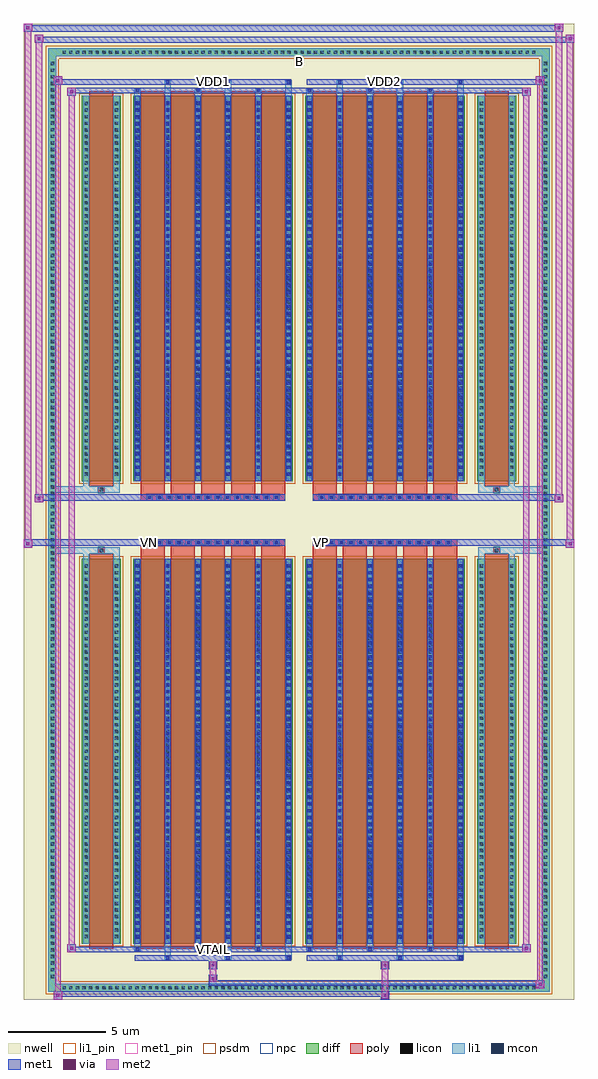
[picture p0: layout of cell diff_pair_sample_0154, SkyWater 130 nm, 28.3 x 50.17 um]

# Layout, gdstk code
import gdstk
lib = gdstk.Library(unit=1e-6, precision=5e-09)
def R(c, l, rs):  # rectangles x0, y0, x1, y1
    for r in rs: c.add(gdstk.rectangle(r[:2], r[2:], *l))
def A(c, l, x, y, w, h, nx, ny, dx, dy):  # array of equal rectangles
    R(c, l, [(x+i*dx, y+j*dy, x+i*dx+w, y+j*dy+h) for i in range(nx) for j in range(ny)])
def P(c, l, *ps):  # polygons
    for p in ps: c.add(gdstk.Polygon(p, *l))
nwell = (64, 20)
diff = (65, 20)
poly = (66, 20)
licon = (66, 44)
li1_pin = (67, 16)
li1 = (67, 20)
mcon = (67, 44)
met1_pin = (68, 16)
met1 = (68, 20)
via = (68, 44)
met2 = (69, 20)
psdm = (94, 20)
npc = (95, 20)

diff_pair_sample_0154 = lib.new_cell('diff_pair_sample_0154')
R(diff_pair_sample_0154, nwell, [(-14.15,-24.65,14.15,25.52), (-11.47,-22.84,-0.01,-0.8), (0.01,-22.84,11.47,-0.8), (-11.47,0.8,-0.01,22.84), (0.01,0.8,11.47,22.84)])
A(diff_pair_sample_0154, diff, -12.275, -24.25, 0.41, 0.41, 72, 2, 0.34, 48.09)
A(diff_pair_sample_0154, diff, -12.88, -23.665, 0.41, 0.41, 1, 139, 0, 0.34)
A(diff_pair_sample_0154, diff, 12.47, -23.665, 0.41, 0.41, 1, 139, 0, 0.34)
R(diff_pair_sample_0154, diff, [(-12.275,-24.25,12.275,-23.84), (-12.88,-23.665,-12.47,23.665), (12.47,-23.665,12.88,23.665), (-11.16,-21.795,-9.16,-1.985), (-8.52,-21.795,-0.32,-1.985), (0.32,-21.795,8.52,-1.985), (9.16,-21.795,11.16,-1.985), (-11.16,1.985,-9.16,21.795), (-8.52,1.985,-0.32,21.795), (0.32,1.985,8.52,21.795), (9.16,1.985,11.16,21.795), (-12.275,23.84,12.275,24.25)])
P(diff_pair_sample_0154, diff, [(12.88,24.25),(-12.88,24.25),(-12.88,-23.84),(-12.47,-23.84),(-12.47,23.84),(12.47,23.84),(12.47,-23.84),(-12.47,-23.84),(-12.88,-23.84),(-12.88,-24.25),(12.88,-24.25)])
A(diff_pair_sample_0154, poly, -8.13, -22.045, 1.22, 20.31, 5, 2, 1.55, 23.78)
A(diff_pair_sample_0154, poly, 0.71, -22.045, 1.22, 20.31, 5, 2, 1.55, 23.78)
A(diff_pair_sample_0154, poly, -8.13, -1.735, 1.22, 0.405, 5, 2, 1.55, 3.065)
A(diff_pair_sample_0154, poly, 0.71, -1.735, 1.22, 0.405, 5, 2, 1.55, 3.065)
A(diff_pair_sample_0154, poly, -7.835, -1.33, 0.33, 0.33, 14, 2, 0.5, 2.33)
A(diff_pair_sample_0154, poly, 1.005, -1.33, 0.33, 0.33, 14, 2, 0.5, 2.33)
R(diff_pair_sample_0154, poly, [(-10.77,-22.045,-9.55,-1.735), (9.55,-22.045,10.77,-1.735), (-10.325,-1.735,-9.995,-1.405), (-10.325,-1.735,-9.995,-1.405), (9.995,-1.735,10.325,-1.405), (9.995,-1.735,10.325,-1.405), (-8.13,-1.33,-0.71,-1), (0.71,-1.33,8.13,-1), (-8.13,1,-0.71,1.33), (0.71,1,8.13,1.33), (-10.325,1.405,-9.995,1.735), (-10.325,1.405,-9.995,1.735), (9.995,1.405,10.325,1.735), (9.995,1.405,10.325,1.735), (-10.77,1.735,-9.55,22.045), (9.55,1.735,10.77,22.045)])
A(diff_pair_sample_0154, licon, -12.155, -24.13, 0.17, 0.17, 72, 2, 0.34, 48.09)
A(diff_pair_sample_0154, licon, -12.76, -23.545, 0.17, 0.17, 1, 139, 0, 0.34)
A(diff_pair_sample_0154, licon, 12.59, -23.545, 0.17, 0.17, 1, 139, 0, 0.34)
A(diff_pair_sample_0154, licon, -11.02, -21.495, 0.17, 0.17, 1, 57, 0, 0.34)
A(diff_pair_sample_0154, licon, -9.47, -21.495, 0.17, 0.17, 1, 57, 0, 0.34)
A(diff_pair_sample_0154, licon, -8.38, -21.495, 0.17, 0.17, 6, 57, 1.55, 0.34)
A(diff_pair_sample_0154, licon, 0.46, -21.495, 0.17, 0.17, 6, 57, 1.55, 0.34)
A(diff_pair_sample_0154, licon, 9.3, -21.495, 0.17, 0.17, 1, 57, 0, 0.34)
A(diff_pair_sample_0154, licon, 10.85, -21.495, 0.17, 0.17, 1, 57, 0, 0.34)
A(diff_pair_sample_0154, licon, -7.755, -1.25, 0.17, 0.17, 14, 2, 0.5, 2.33)
A(diff_pair_sample_0154, licon, 1.085, -1.25, 0.17, 0.17, 14, 2, 0.5, 2.33)
A(diff_pair_sample_0154, licon, -11.02, 2.285, 0.17, 0.17, 1, 57, 0, 0.34)
A(diff_pair_sample_0154, licon, -9.47, 2.285, 0.17, 0.17, 1, 57, 0, 0.34)
A(diff_pair_sample_0154, licon, -8.38, 2.285, 0.17, 0.17, 6, 57, 1.55, 0.34)
A(diff_pair_sample_0154, licon, 0.46, 2.285, 0.17, 0.17, 6, 57, 1.55, 0.34)
A(diff_pair_sample_0154, licon, 9.3, 2.285, 0.17, 0.17, 1, 57, 0, 0.34)
A(diff_pair_sample_0154, licon, 10.85, 2.285, 0.17, 0.17, 1, 57, 0, 0.34)
R(diff_pair_sample_0154, licon, [(-10.245,-1.655,-10.075,-1.485), (10.075,-1.655,10.245,-1.485), (-10.245,1.485,-10.075,1.655), (10.075,1.485,10.245,1.655)])
R(diff_pair_sample_0154, li1_pin, [(-0.25,23.34,0.25,23.84)])
A(diff_pair_sample_0154, li1, -12.235, -24.21, 0.33, 0.33, 72, 2, 0.34, 48.09)
A(diff_pair_sample_0154, li1, -12.84, -23.625, 0.33, 0.33, 1, 139, 0, 0.34)
A(diff_pair_sample_0154, li1, 12.51, -23.625, 0.33, 0.33, 1, 139, 0, 0.34)
A(diff_pair_sample_0154, li1, -6.91, -22.6, 0.33, 0.805, 3, 2, 3.1, 44.395)
A(diff_pair_sample_0154, li1, -6.83, -22.6, 0.17, 0.17, 3, 2, 3.1, 45.03)
A(diff_pair_sample_0154, li1, 1.93, -22.6, 0.33, 0.805, 3, 2, 3.1, 44.395)
A(diff_pair_sample_0154, li1, 2.01, -22.6, 0.17, 0.17, 3, 2, 3.1, 45.03)
A(diff_pair_sample_0154, li1, -8.46, -22.17, 0.33, 0.375, 3, 2, 3.1, 43.965)
A(diff_pair_sample_0154, li1, -8.38, -22.17, 0.17, 0.17, 3, 2, 3.1, 44.17)
A(diff_pair_sample_0154, li1, 0.38, -22.17, 0.33, 0.375, 3, 2, 3.1, 43.965)
A(diff_pair_sample_0154, li1, 0.46, -22.17, 0.17, 0.17, 3, 2, 3.1, 44.17)
A(diff_pair_sample_0154, li1, -8.46, -21.795, 0.33, 19.81, 6, 2, 1.55, 23.78)
A(diff_pair_sample_0154, li1, 0.38, -21.795, 0.33, 19.81, 6, 2, 1.55, 23.78)
A(diff_pair_sample_0154, li1, -11.1, -21.575, 0.33, 0.33, 1, 57, 0, 0.34)
A(diff_pair_sample_0154, li1, -9.55, -21.575, 0.33, 0.33, 1, 57, 0, 0.34)
A(diff_pair_sample_0154, li1, -8.46, -21.575, 0.33, 0.33, 6, 57, 1.55, 0.34)
A(diff_pair_sample_0154, li1, 0.38, -21.575, 0.33, 0.33, 6, 57, 1.55, 0.34)
A(diff_pair_sample_0154, li1, 9.22, -21.575, 0.33, 0.33, 1, 57, 0, 0.34)
A(diff_pair_sample_0154, li1, 10.77, -21.575, 0.33, 0.33, 1, 57, 0, 0.34)
A(diff_pair_sample_0154, li1, -8.38, -21.515, 0.17, 0.17, 6, 54, 1.55, 0.36)
A(diff_pair_sample_0154, li1, -8.38, -21.515, 0.17, 19.25, 6, 2, 1.55, 23.78)
A(diff_pair_sample_0154, li1, 0.46, -21.515, 0.17, 0.17, 6, 54, 1.55, 0.36)
A(diff_pair_sample_0154, li1, 0.46, -21.515, 0.17, 19.25, 6, 2, 1.55, 23.78)
A(diff_pair_sample_0154, li1, -7.835, -1.33, 0.33, 0.33, 14, 2, 0.5, 2.33)
A(diff_pair_sample_0154, li1, 1.005, -1.33, 0.33, 0.33, 14, 2, 0.5, 2.33)
A(diff_pair_sample_0154, li1, -11.1, 2.205, 0.33, 0.33, 1, 57, 0, 0.34)
A(diff_pair_sample_0154, li1, -9.55, 2.205, 0.33, 0.33, 1, 57, 0, 0.34)
A(diff_pair_sample_0154, li1, -8.46, 2.205, 0.33, 0.33, 6, 57, 1.55, 0.34)
A(diff_pair_sample_0154, li1, 0.38, 2.205, 0.33, 0.33, 6, 57, 1.55, 0.34)
A(diff_pair_sample_0154, li1, 9.22, 2.205, 0.33, 0.33, 1, 57, 0, 0.34)
A(diff_pair_sample_0154, li1, 10.77, 2.205, 0.33, 0.33, 1, 57, 0, 0.34)
A(diff_pair_sample_0154, li1, -8.38, 2.265, 0.17, 0.17, 6, 54, 1.55, 0.36)
A(diff_pair_sample_0154, li1, 0.46, 2.265, 0.17, 0.17, 6, 54, 1.55, 0.36)
R(diff_pair_sample_0154, li1, [(-12.88,-24.25,-12.47,-23.84), (-12.88,-24.25,-12.47,-23.84), (-12.47,-24.25,12.47,-23.84), (12.47,-24.25,12.88,-23.84), (12.47,-24.25,12.88,-23.84), (-12.88,-23.84,-12.47,23.84), (12.47,-23.84,12.88,23.84), (-11.1,-21.795,-10.77,-1.985), (-9.55,-21.795,-9.22,-1.985), (9.22,-21.795,9.55,-1.985), (10.77,-21.795,11.1,-1.985), (-11.1,-1.985,-10.77,-1.405), (-9.55,-1.985,-9.22,-1.405), (9.22,-1.985,9.55,-1.405), (10.77,-1.985,11.1,-1.405), (-12.88,-1.735,-10.325,-1.405), (-11.1,-1.735,-10.325,-1.405), (-10.325,-1.735,-9.995,-1.405), (-9.995,-1.735,-9.22,-1.405), (9.22,-1.735,9.995,-1.405), (9.995,-1.735,10.325,-1.405), (9.995,-1.735,12.88,-1.405), (10.325,-1.735,11.1,-1.405), (-12.88,1.405,-10.325,1.735), (-11.1,1.405,-10.325,1.735), (-11.1,1.405,-10.77,1.985), (-10.325,1.405,-9.995,1.735), (-9.995,1.405,-9.22,1.735), (-9.55,1.405,-9.22,1.985), (9.22,1.405,9.995,1.735), (9.22,1.405,9.55,1.985), (9.995,1.405,10.325,1.735), (9.995,1.405,12.88,1.735), (10.325,1.405,11.1,1.735), (10.77,1.405,11.1,1.985), (-11.1,1.985,-10.77,21.795), (-9.55,1.985,-9.22,21.795), (9.22,1.985,9.55,21.795), (10.77,1.985,11.1,21.795), (-12.88,23.84,-12.47,24.25), (-12.88,23.84,-12.47,24.25), (-12.47,23.84,12.47,24.25), (12.47,23.84,12.88,24.25), (12.47,23.84,12.88,24.25)])
A(diff_pair_sample_0154, mcon, -6.83, -22.6, 0.17, 0.17, 3, 2, 3.1, 45.03)
A(diff_pair_sample_0154, mcon, 2.01, -22.6, 0.17, 0.17, 3, 2, 3.1, 45.03)
A(diff_pair_sample_0154, mcon, -8.38, -22.17, 0.17, 0.17, 3, 2, 3.1, 44.17)
A(diff_pair_sample_0154, mcon, 0.46, -22.17, 0.17, 0.17, 3, 2, 3.1, 44.17)
A(diff_pair_sample_0154, mcon, -8.38, -21.515, 0.17, 0.17, 6, 54, 1.55, 0.36)
A(diff_pair_sample_0154, mcon, 0.46, -21.515, 0.17, 0.17, 6, 54, 1.55, 0.36)
A(diff_pair_sample_0154, mcon, -7.755, -1.25, 0.17, 0.17, 14, 2, 0.5, 2.33)
A(diff_pair_sample_0154, mcon, 1.085, -1.25, 0.17, 0.17, 14, 2, 0.5, 2.33)
A(diff_pair_sample_0154, mcon, -8.38, 2.265, 0.17, 0.17, 6, 54, 1.55, 0.36)
A(diff_pair_sample_0154, mcon, 0.46, 2.265, 0.17, 0.17, 6, 54, 1.55, 0.36)
R(diff_pair_sample_0154, met1_pin, [(-4.555,-22.21,-4.285,-21.94), (-7.805,-1.29,-7.535,-1.02), (1.035,-1.29,1.305,-1.02), (-4.555,22.39,-4.285,22.66), (4.285,22.39,4.555,22.66)])
A(diff_pair_sample_0154, met1, -6.89, -22.66, 0.29, 0.29, 3, 2, 3.1, 45.03)
A(diff_pair_sample_0154, met1, 1.95, -22.66, 0.29, 0.29, 3, 2, 3.1, 45.03)
A(diff_pair_sample_0154, met1, -8.44, -22.23, 0.29, 0.29, 3, 2, 3.1, 44.17)
A(diff_pair_sample_0154, met1, 0.4, -22.23, 0.29, 0.29, 3, 2, 3.1, 44.17)
A(diff_pair_sample_0154, met1, -8.44, -21.795, 0.29, 19.81, 6, 2, 1.55, 23.78)
A(diff_pair_sample_0154, met1, 0.4, -21.795, 0.29, 19.81, 6, 2, 1.55, 23.78)
A(diff_pair_sample_0154, met1, -8.44, -21.575, 0.29, 0.29, 6, 54, 1.55, 0.36)
A(diff_pair_sample_0154, met1, 0.4, -21.575, 0.29, 0.29, 6, 54, 1.55, 0.36)
A(diff_pair_sample_0154, met1, -7.815, -1.31, 0.29, 0.29, 14, 2, 0.5, 2.33)
A(diff_pair_sample_0154, met1, 1.025, -1.31, 0.29, 0.29, 14, 2, 0.5, 2.33)
A(diff_pair_sample_0154, met1, -8.44, 2.205, 0.29, 0.29, 6, 54, 1.55, 0.36)
A(diff_pair_sample_0154, met1, 0.4, 2.205, 0.29, 0.29, 6, 54, 1.55, 0.36)
R(diff_pair_sample_0154, met1, [(-12.61,-24.65,-12.18,-24.22), (4.205,-24.65,4.635,-24.22), (-12.61,-24.51,4.635,-24.22), (12.18,-24.08,12.61,-23.65), (-4.635,-23.94,12.61,-23.65), (-4.635,-23.8,-4.205,-23.37), (-4.635,-23.09,-4.205,-22.66), (4.205,-23.09,4.635,-22.66), (-8.44,-22.66,-0.4,-22.37), (0.4,-22.66,8.44,-22.37), (-11.9,-22.23,-11.47,-21.8), (-11.9,-22.23,-8.44,-21.94), (-8.44,-22.23,-0.4,-21.94), (-0.4,-22.23,0.4,-21.94), (0.4,-22.23,8.44,-21.94), (8.44,-22.23,11.9,-21.94), (11.47,-22.23,11.9,-21.8), (-14.15,-1.43,-13.72,-1), (13.72,-1.43,14.15,-1), (-14.15,-1.33,-0.71,-1), (-8.13,-1.33,-0.71,-1), (0.71,-1.33,8.13,-1), (0.71,-1.33,14.15,-1), (-13.58,0.9,-13.15,1.33), (13.15,0.9,13.58,1.33), (-13.58,1,-8.13,1.33), (-8.13,1,-0.71,1.33), (0.71,1,8.13,1.33), (8.13,1,13.58,1.33), (-11.9,21.8,-11.47,22.23), (11.47,21.8,11.9,22.23), (-11.9,21.94,-8.44,22.23), (-8.44,21.94,-0.4,22.23), (-0.4,21.94,0.4,22.23), (0.4,21.94,8.44,22.23), (8.44,21.94,11.9,22.23), (-12.61,22.37,-12.18,22.8), (-12.61,22.37,-8.44,22.66), (-8.44,22.37,-0.4,22.66), (0.4,22.37,8.44,22.66), (8.44,22.37,12.61,22.66), (12.18,22.37,12.61,22.8), (-13.58,24.52,-13.15,24.95), (-13.58,24.52,-11.47,24.85), (-11.47,24.52,11.47,24.85), (11.47,24.52,14.15,24.85), (13.72,24.52,14.15,24.95), (-14.15,25.09,-13.72,25.52), (-14.15,25.09,-11.47,25.42), (-11.47,25.09,11.47,25.42), (11.47,25.09,13.58,25.42), (13.15,25.09,13.58,25.52)])
R(diff_pair_sample_0154, via, [(-12.47,-24.51,-12.32,-24.36), (4.345,-24.51,4.495,-24.36), (12.32,-23.94,12.47,-23.79), (-4.495,-23.66,-4.345,-23.51), (-4.495,-22.95,-4.345,-22.8), (4.345,-22.95,4.495,-22.8), (-11.76,-22.09,-11.61,-21.94), (11.61,-22.09,11.76,-21.94), (-14.01,-1.29,-13.86,-1.14), (13.86,-1.29,14.01,-1.14), (-13.44,1.04,-13.29,1.19), (13.29,1.04,13.44,1.19), (-11.76,21.94,-11.61,22.09), (11.61,21.94,11.76,22.09), (-12.47,22.51,-12.32,22.66), (12.32,22.51,12.47,22.66), (-13.44,24.66,-13.29,24.81), (13.86,24.66,14.01,24.81), (-14.01,25.23,-13.86,25.38), (13.29,25.23,13.44,25.38)])
R(diff_pair_sample_0154, met2, [(-12.61,-24.65,-12.18,-24.22), (-12.54,-24.65,-12.25,22.8), (-12.25,-24.65,-12.18,-24.22), (-12.56,-24.6,-12.23,-24.27), (4.255,-24.6,4.585,-24.27), (4.255,-24.27,4.585,-23.04), (12.18,-24.08,12.61,-23.65), (12.25,-24.08,12.54,22.8), (12.54,-24.08,12.61,-23.65), (12.23,-24.03,12.56,-23.7), (-4.585,-23.75,-4.255,-23.42), (-4.585,-23.42,-4.255,-23.04), (-4.585,-23.04,-4.255,-22.71), (4.255,-23.04,4.585,-22.71), (-11.9,-22.23,-11.47,-21.8), (-11.83,-22.23,-11.54,22.23), (-11.54,-22.23,-11.47,-21.8), (11.47,-22.23,11.9,-21.8), (11.54,-22.23,11.83,22.23), (11.83,-22.23,11.9,-21.8), (-11.85,-22.18,-11.52,-21.85), (11.52,-22.18,11.85,-21.85), (-14.15,-1.43,-13.72,-1), (-14.1,-1.43,-13.77,25.52), (-13.77,-1.43,-13.72,-1), (13.72,-1.43,14.15,-1), (13.77,-1.43,14.1,24.95), (14.1,-1.43,14.15,-1), (-14.1,-1.38,-13.77,-1.05), (13.77,-1.38,14.1,-1.05), (-13.58,0.9,-13.15,1.33), (-13.53,0.9,-13.2,24.95), (-13.2,0.9,-13.15,1.33), (13.15,0.9,13.58,1.33), (13.2,0.9,13.53,25.52), (13.53,0.9,13.58,1.33), (-13.53,0.95,-13.2,1.28), (13.2,0.95,13.53,1.28), (-11.9,21.8,-11.47,22.23), (-11.54,21.8,-11.47,22.23), (11.47,21.8,11.9,22.23), (11.83,21.8,11.9,22.23), (-11.85,21.85,-11.52,22.18), (11.52,21.85,11.85,22.18), (-12.61,22.37,-12.18,22.8), (-12.25,22.37,-12.18,22.8), (12.18,22.37,12.61,22.8), (12.54,22.37,12.61,22.8), (-12.56,22.42,-12.23,22.75), (12.23,22.42,12.56,22.75), (-13.58,24.52,-13.15,24.95), (-13.2,24.52,-13.15,24.95), (13.72,24.52,14.15,24.95), (14.1,24.52,14.15,24.95), (-13.53,24.57,-13.2,24.9), (13.77,24.57,14.1,24.9), (-14.15,25.09,-13.72,25.52), (-13.77,25.09,-13.72,25.52), (13.15,25.09,13.58,25.52), (13.53,25.09,13.58,25.52), (-14.1,25.14,-13.77,25.47), (13.2,25.14,13.53,25.47)])
R(diff_pair_sample_0154, psdm, [(-11.29,-21.925,-9.03,-1.855), (-8.65,-21.925,-0.19,-1.855), (0.19,-21.925,8.65,-1.855), (9.03,-21.925,11.29,-1.855), (-11.29,1.855,-9.03,21.925), (-8.65,1.855,-0.19,21.925), (0.19,1.855,8.65,21.925), (9.03,1.855,11.29,21.925)])
P(diff_pair_sample_0154, psdm, [(13.01,24.38),(-13.01,24.38),(-13.01,-23.71),(-12.34,-23.71),(-12.34,23.71),(12.34,23.71),(12.34,-23.71),(-12.34,-23.71),(-13.01,-23.71),(-13.01,-24.38),(13.01,-24.38)])
A(diff_pair_sample_0154, npc, -7.855, -1.35, 0.37, 0.37, 14, 2, 0.5, 2.33)
A(diff_pair_sample_0154, npc, 0.985, -1.35, 0.37, 0.37, 14, 2, 0.5, 2.33)
R(diff_pair_sample_0154, npc, [(-10.345,-1.755,-9.975,-1.385), (9.975,-1.755,10.345,-1.385), (-7.855,-1.35,-6.985,-0.98), (-7.855,-1.35,-6.985,-0.98), (-7.355,-1.35,-6.485,-0.98), (-7.355,-1.35,-6.485,-0.98), (-6.855,-1.35,-5.985,-0.98), (-6.855,-1.35,-5.985,-0.98), (-6.355,-1.35,-5.485,-0.98), (-6.355,-1.35,-5.485,-0.98), (-5.855,-1.35,-4.985,-0.98), (-5.855,-1.35,-4.985,-0.98), (-5.355,-1.35,-4.485,-0.98), (-5.355,-1.35,-4.485,-0.98), (-4.855,-1.35,-3.985,-0.98), (-4.855,-1.35,-3.985,-0.98), (-4.355,-1.35,-3.485,-0.98), (-4.355,-1.35,-3.485,-0.98), (-3.855,-1.35,-2.985,-0.98), (-3.855,-1.35,-2.985,-0.98), (-3.355,-1.35,-2.485,-0.98), (-3.355,-1.35,-2.485,-0.98), (-2.855,-1.35,-1.985,-0.98), (-2.855,-1.35,-1.985,-0.98), (-2.355,-1.35,-1.485,-0.98), (-2.355,-1.35,-1.485,-0.98), (-1.855,-1.35,-0.985,-0.98), (-1.855,-1.35,-0.985,-0.98), (0.985,-1.35,1.855,-0.98), (0.985,-1.35,1.855,-0.98), (1.485,-1.35,2.355,-0.98), (1.485,-1.35,2.355,-0.98), (1.985,-1.35,2.855,-0.98), (1.985,-1.35,2.855,-0.98), (2.485,-1.35,3.355,-0.98), (2.485,-1.35,3.355,-0.98), (2.985,-1.35,3.855,-0.98), (2.985,-1.35,3.855,-0.98), (3.485,-1.35,4.355,-0.98), (3.485,-1.35,4.355,-0.98), (3.985,-1.35,4.855,-0.98), (3.985,-1.35,4.855,-0.98), (4.485,-1.35,5.355,-0.98), (4.485,-1.35,5.355,-0.98), (4.985,-1.35,5.855,-0.98), (4.985,-1.35,5.855,-0.98), (5.485,-1.35,6.355,-0.98), (5.485,-1.35,6.355,-0.98), (5.985,-1.35,6.855,-0.98), (5.985,-1.35,6.855,-0.98), (6.485,-1.35,7.355,-0.98), (6.485,-1.35,7.355,-0.98), (6.985,-1.35,7.855,-0.98), (6.985,-1.35,7.855,-0.98), (-7.855,0.98,-6.985,1.35), (-7.855,0.98,-6.985,1.35), (-7.355,0.98,-6.485,1.35), (-7.355,0.98,-6.485,1.35), (-6.855,0.98,-5.985,1.35), (-6.855,0.98,-5.985,1.35), (-6.355,0.98,-5.485,1.35), (-6.355,0.98,-5.485,1.35), (-5.855,0.98,-4.985,1.35), (-5.855,0.98,-4.985,1.35), (-5.355,0.98,-4.485,1.35), (-5.355,0.98,-4.485,1.35), (-4.855,0.98,-3.985,1.35), (-4.855,0.98,-3.985,1.35), (-4.355,0.98,-3.485,1.35), (-4.355,0.98,-3.485,1.35), (-3.855,0.98,-2.985,1.35), (-3.855,0.98,-2.985,1.35), (-3.355,0.98,-2.485,1.35), (-3.355,0.98,-2.485,1.35), (-2.855,0.98,-1.985,1.35), (-2.855,0.98,-1.985,1.35), (-2.355,0.98,-1.485,1.35), (-2.355,0.98,-1.485,1.35), (-1.855,0.98,-0.985,1.35), (-1.855,0.98,-0.985,1.35), (0.985,0.98,1.855,1.35), (0.985,0.98,1.855,1.35), (1.485,0.98,2.355,1.35), (1.485,0.98,2.355,1.35), (1.985,0.98,2.855,1.35), (1.985,0.98,2.855,1.35), (2.485,0.98,3.355,1.35), (2.485,0.98,3.355,1.35), (2.985,0.98,3.855,1.35), (2.985,0.98,3.855,1.35), (3.485,0.98,4.355,1.35), (3.485,0.98,4.355,1.35), (3.985,0.98,4.855,1.35), (3.985,0.98,4.855,1.35), (4.485,0.98,5.355,1.35), (4.485,0.98,5.355,1.35), (4.985,0.98,5.855,1.35), (4.985,0.98,5.855,1.35), (5.485,0.98,6.355,1.35), (5.485,0.98,6.355,1.35), (5.985,0.98,6.855,1.35), (5.985,0.98,6.855,1.35), (6.485,0.98,7.355,1.35), (6.485,0.98,7.355,1.35), (6.985,0.98,7.855,1.35), (6.985,0.98,7.855,1.35), (-10.345,1.385,-9.975,1.755), (9.975,1.385,10.345,1.755)])
diff_pair_sample_0154.add(gdstk.Label('VTAIL', (-4.42,-22.075), layer=68, texttype=5))
diff_pair_sample_0154.add(gdstk.Label('VN', (-7.67,-1.155), layer=68, texttype=5))
diff_pair_sample_0154.add(gdstk.Label('VP', (1.17,-1.155), layer=68, texttype=5))
diff_pair_sample_0154.add(gdstk.Label('B', (0,23.59), layer=67, texttype=5))
diff_pair_sample_0154.add(gdstk.Label('VDD2', (4.42,22.525), layer=68, texttype=5))
diff_pair_sample_0154.add(gdstk.Label('VDD1', (-4.42,22.525), layer=68, texttype=5))

lib.write_gds('diff_pair_sample_0154.gds')
